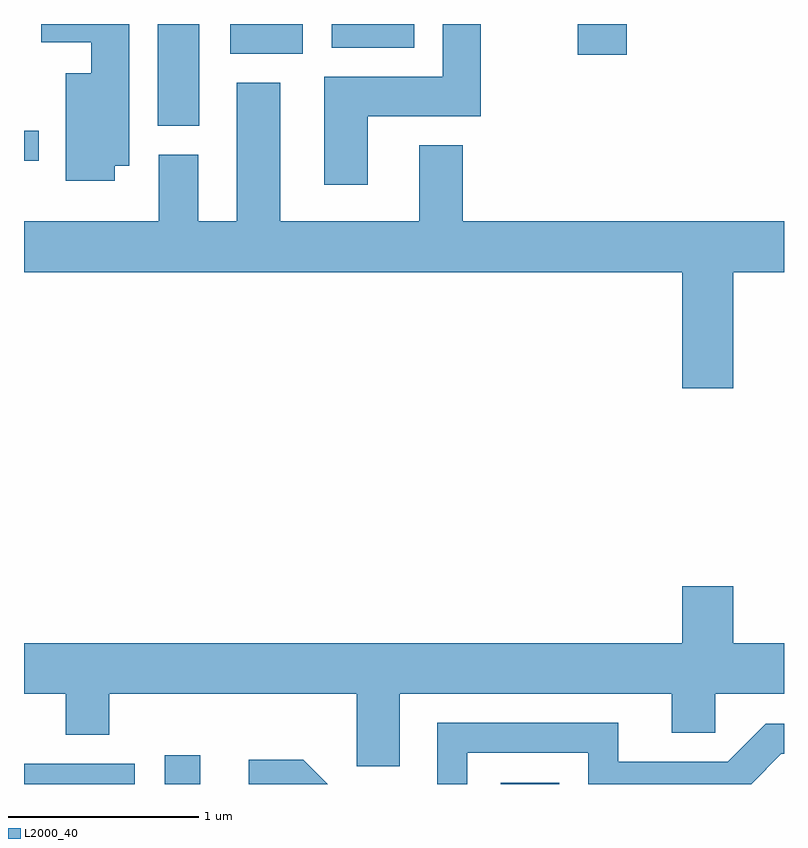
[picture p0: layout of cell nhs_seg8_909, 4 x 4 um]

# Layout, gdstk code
import gdstk
lib = gdstk.Library(unit=1e-6, precision=1e-09)
def R(c, l, rs):  # rectangles x0, y0, x1, y1
    for r in rs: c.add(gdstk.rectangle(r[:2], r[2:], *l))
def P(c, l, *ps):  # polygons
    for p in ps: c.add(gdstk.Polygon(p, *l))
L2000_40 = (2000, 40)

nhs_seg8_909 = lib.new_cell('nhs_seg8_909')
R(nhs_seg8_909, L2000_40, [(211.611,1880.342,212.194,1880.449), (212.351,1880.342,212.539,1880.494), (214.121,1880.342,214.429,1880.349), (211.611,1883.621,211.688,1883.779), (212.316,1883.806,212.534,1884.342), (214.526,1884.181,214.784,1884.342), (212.696,1884.186,213.079,1884.342), (213.231,1884.216,213.664,1884.342)])
P(nhs_seg8_909, L2000_40, [(213.419,1883.856),(214.014,1883.856),(214.014,1884.342),(213.816,1884.342),(213.816,1884.064),(213.191,1884.064),(213.191,1883.496),(213.419,1883.496)],
  [(212.089,1883.596),(212.164,1883.596),(212.164,1884.342),(211.701,1884.342),(211.701,1884.246),(211.966,1884.246),(211.966,1884.084),(211.831,1884.084),(211.831,1883.516),(212.089,1883.516)],
  [(215.344,1883.036),(215.611,1883.036),(215.611,1883.304),(213.919,1883.304),(213.919,1883.704),(213.691,1883.704),(213.691,1883.304),(212.959,1883.304),(212.959,1884.034),(212.731,1884.034),(212.731,1883.304),(212.529,1883.304),(212.529,1883.654),(212.321,1883.654),(212.321,1883.304),(211.611,1883.304),(211.611,1883.036),(215.076,1883.036),(215.076,1882.426),(215.344,1882.426)],
  [(213.589,1880.816),(215.021,1880.816),(215.021,1880.611),(215.249,1880.611),(215.249,1880.816),(215.611,1880.816),(215.611,1881.084),(215.344,1881.084),(215.344,1881.384),(215.076,1881.384),(215.076,1881.084),(211.611,1881.084),(211.611,1880.816),(211.831,1880.816),(211.831,1880.601),(212.059,1880.601),(212.059,1880.816),(213.361,1880.816),(213.361,1880.436),(213.589,1880.436)],
  [(213.944,1880.506),(214.581,1880.506),(214.581,1880.342),(215.438,1880.342),(215.597,1880.501),(215.611,1880.501),(215.611,1880.659),(215.514,1880.659),(215.314,1880.459),(214.739,1880.459),(214.739,1880.664),(213.786,1880.664),(213.786,1880.342),(213.944,1880.342)],
  [(213.082,1880.469),(212.793,1880.469),(212.793,1880.342),(213.209,1880.342)])

lib.write_gds('nhs_seg8_909.gds')
